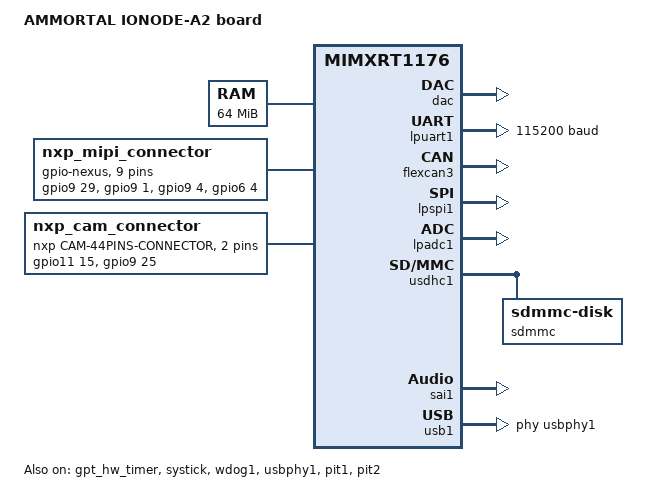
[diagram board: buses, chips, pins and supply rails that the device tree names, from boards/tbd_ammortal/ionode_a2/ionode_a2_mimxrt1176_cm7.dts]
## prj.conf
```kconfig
# Print a banner on the UART on startup.
CONFIG_BOOT_BANNER=y

# Enable console and printk()
CONFIG_PRINTK=y
CONFIG_STDOUT_CONSOLE=y

# Enable Zephyr application to be booted by MCUboot
###CONFIG_BOOTLOADER_MCUBOOT=y

# Use the default MCUBoot PEM key file (BOOT_SIGNATURE_KEY_FILE)
##CONFIG_MCUBOOT_SIGNATURE_KEY_FILE="bootloader/mcuboot/root-rsa-2048.pem"
##CONFIG_MCUBOOT_SIGNATURE_KEY_FILE="bootloader/mcuboot/root-ec-p256.pem"
CONFIG_MCUBOOT_SIGNATURE_KEY_FILE="bootloader/mcuboot/omnitek-ec-p256.pem"
```

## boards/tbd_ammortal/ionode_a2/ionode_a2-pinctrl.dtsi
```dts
/*
 * Copyright (c) 2022, NXP
 * SPDX-License-Identifier: Apache-2.0
 *
 * Note: File generated by gen_board_pinctrl.py
 * from mimxrt1170_evk.mex
 */

#include <nxp/nxp_imx/rt/mimxrt1176dvmaa-pinctrl.dtsi>

&pinctrl {
	/* conflicts with fxos8700 sensor */
	pinmux_csi: pinmux_csi {
		group0 {
			pinmux = <&iomuxc_gpio_disp_b2_14_gpio11_io15>;
			drive-strength = "high";
			bias-pull-down;
			slew-rate = "fast";
		};

		group1 {
			pinmux = <&iomuxc_gpio_ad_26_gpio9_io25>;
			drive-strength = "high";
			bias-pull-up;
			slew-rate = "fast";
		};
	};

	pinmux_lpi2c6: pinmux_lpi2c6 {
		group0 {
			pinmux = <&iomuxc_lpsr_gpio_lpsr_07_lpi2c6_scl>,
				 <&iomuxc_lpsr_gpio_lpsr_06_lpi2c6_sda>;
			drive-strength = "high";
			slew-rate = "fast";
			input-enable;
		};
	};

	pinmux_enet: pinmux_enet {
		group0 {
			pinmux = <&iomuxc_gpio_ad_12_gpio9_io11>,
				 <&iomuxc_gpio_disp_b2_08_enet_rx_en>,
				 <&iomuxc_gpio_disp_b2_09_enet_rx_er>;
			drive-strength = "high";
			bias-pull-down;
			slew-rate = "fast";
		};

		group1 {
			pinmux = <&iomuxc_gpio_disp_b2_06_enet_rdata00>,
				 <&iomuxc_gpio_disp_b2_07_enet_rdata01>;
			drive-strength = "high";
			bias-pull-down;
			slew-rate = "fast";
			input-enable;
		};

		group2 {
			pinmux = <&iomuxc_lpsr_gpio_lpsr_12_gpio12_io12>;
			drive-strength = "high";
			bias-pull-up;
			slew-rate = "fast";
		};

		group3 {
			pinmux = <&iomuxc_gpio_disp_b2_02_enet_tdata00>,
				 <&iomuxc_gpio_disp_b2_03_enet_tdata01>,
				 <&iomuxc_gpio_disp_b2_04_enet_tx_en>;
			drive-strength = "high";
			slew-rate = "fast";
		};

		group4 {
			pinmux = <&iomuxc_gpio_disp_b2_05_enet_ref_clk>;
			drive-strength = "high";
			slew-rate = "slow";
			input-enable;
		};
	};

	pinmux_enet_mdio: pinmux_enet_mdio {
		group0 {
			pinmux = <&iomuxc_gpio_emc_b2_19_enet_mdc>,
				 <&iomuxc_gpio_emc_b2_20_enet_mdio>;
			drive-strength = "high";
			slew-rate = "fast";
		};
	};

	pinmux_ptp: pinmux_ptp {};

	pinmux_enet1g: pinmux_enet1g {
		group0 {
			pinmux = <&iomuxc_gpio_disp_b1_11_enet_1g_tx_clk_io>,	// ENET_RGMII_TXC
				 <&iomuxc_gpio_disp_b1_01_enet_1g_rx_clk>;	// ENET_RGMII_RXC
			bias-disable;
			drive-strength = "high";
			slew-rate = "fast";
			input-enable;
		};

		group1 {
			pinmux = <&iomuxc_gpio_disp_b1_09_enet_1g_tdata00>,	// ENET_RGMII_TXD0
				 <&iomuxc_gpio_disp_b1_08_enet_1g_tdata01>,	// ENET_RGMII_TXD1
				 <&iomuxc_gpio_disp_b1_07_enet_1g_tdata02>,	// ENET_RGMII_TXD2
				 <&iomuxc_gpio_disp_b1_06_enet_1g_tdata03>,	// ENET_RGMII_TXD3
				 <&iomuxc_gpio_disp_b1_10_enet_1g_tx_en>;	// ENET_RGMII_TX_EN
			drive-strength = "high";
			bias-pull-up;
			slew-rate = "fast";
		};

		group2 {
			pinmux = <&iomuxc_gpio_disp_b1_02_enet_1g_rdata00>,	// ENET_RGMII_RXD0
				 <&iomuxc_gpio_disp_b1_03_enet_1g_rdata01>,	// ENET_RGMII_RXD1
				 <&iomuxc_gpio_disp_b1_04_enet_1g_rdata02>,	// ENET_RGMII_RXD2
				 <&iomuxc_gpio_disp_b1_05_enet_1g_rdata03>,	// ENET_RGMII_RXD3
				 <&iomuxc_gpio_disp_b1_00_enet_1g_rx_en>;	// ENET_RGMII_RX_EN
			drive-strength = "high";
			bias-pull-down;
			slew-rate = "fast";
			input-enable;
		};
	};

	pinmux_enet1g_mdio: pinmux_enet1g_mdio {
		group0 {
			pinmux = <&iomuxc_gpio_disp_b2_13_gpio11_io14>;	// ETHPHY_RST_B
			drive-strength = "high";
			bias-pull-down;
			slew-rate = "slow";
		};

		group1 {
			pinmux = <&iomuxc_gpio_disp_b2_12_gpio_mux5_io13>;	// RGMII1_PHY_INTB
			drive-strength = "high";
			bias-pull-down;
			slew-rate = "fast";
			input-enable;
		};

		group2 {
			pinmux = <&iomuxc_gpio_ad_16_enet_1g_mdc>,	// ENET_RGMII_MDC
				 <&iomuxc_gpio_ad_17_enet_1g_mdio>;		// ENET_RGMII_MDIO
			drive-strength = "high";
			bias-pull-down;
			slew-rate = "fast";
		};
	};

	pinmux_enet1g_ptp: pinmux_enet1g_ptp {};

	pinmux_flexcan3: pinmux_flexcan3 {
		group0 {
			pinmux = <&iomuxc_lpsr_gpio_lpsr_01_can3_rx>,
				 <&iomuxc_lpsr_gpio_lpsr_00_can3_tx>;
			drive-strength = "high";
			slew-rate = "fast";
		};
	};

	pinmux_flexpwm1: pinmux_flexpwm1 {
		group0 {
			pinmux = <&iomuxc_gpio_ad_04_flexpwm1_pwm2_a>;
			drive-strength = "high";
			slew-rate = "fast";
		};
	};

	pinmux_flexspi1: pinmux_flexspi1 {
		group0 {
			pinmux = <&iomuxc_gpio_sd_b2_05_flexspi1_a_dqs>,
				 <&iomuxc_gpio_sd_b2_06_flexspi1_a_ss0_b>,
				 <&iomuxc_gpio_sd_b2_07_flexspi1_a_sclk>,
				 <&iomuxc_gpio_sd_b2_08_flexspi1_a_data00>,
				 <&iomuxc_gpio_sd_b2_09_flexspi1_a_data01>,
				 <&iomuxc_gpio_sd_b2_10_flexspi1_a_data02>,
				 <&iomuxc_gpio_sd_b2_11_flexspi1_a_data03>;
			bias-pull-down;
			input-enable;
		};
	};

	/* interrupt gpios for fxos8700 */
	pinmux_fxos8700_int: pinmux_fxos8700_int {
		group0 {
			pinmux = <&iomuxc_gpio_disp_b2_14_gpio11_io15>,
				 <&iomuxc_gpio_disp_b2_13_gpio11_io14>;
			drive-strength = "high";
			slew-rate = "fast";
		};
	};

	/* conflicts with lpspi1 */
	pinmux_lcdif: pinmux_lcdif {
		group0 {
			pinmux = <&iomuxc_gpio_ad_30_gpio9_io29>,
				 <&iomuxc_gpio_ad_02_gpio9_io01>;
			drive-strength = "high";
			bias-pull-down;
			slew-rate = "fast";
		};

		group1 {
			pinmux = <&iomuxc_gpio_disp_b2_15_gpio11_io16>;
			drive-strength = "high";
			bias-pull-up;
			slew-rate = "fast";
		};
	};

	pinmux_lpadc1: pinmux_lpadc1 {
		group0 {
			pinmux = <&iomuxc_gpio_ad_06_adc1_ch0a>;
			drive-strength = "high";
			bias-pull-down;
			slew-rate = "fast";
		};
	};

	pinmux_lpi2c1: pinmux_lpi2c1 {
		group0 {
			pinmux = <&iomuxc_gpio_ad_08_lpi2c1_scl>,
				 <&iomuxc_gpio_ad_09_lpi2c1_sda>;
			drive-strength = "normal";
			drive-open-drain;
			slew-rate = "fast";
			input-enable;
		};
	};

	/* Connected to FXOS8700 */
	pinmux_lpi2c5: pinmux_lpi2c5 {
		group0 {
			pinmux = <&iomuxc_lpsr_gpio_lpsr_05_lpi2c5_scl>,
				 <&iomuxc_lpsr_gpio_lpsr_04_lpi2c5_sda>;
			drive-strength = "normal";
			drive-open-drain;
			slew-rate = "fast";
			input-enable;
		};
	};

	pinmux_lpspi1: pinmux_lpspi1 {
		group0 {
			pinmux = <&iomuxc_gpio_ad_29_lpspi1_pcs0>,
				 <&iomuxc_gpio_ad_28_lpspi1_sck>,
				 <&iomuxc_gpio_ad_31_lpspi1_sdi>,
				 <&iomuxc_gpio_ad_30_lpspi1_sdo>;
			drive-strength = "high";
			slew-rate = "fast";
		};
	};

	pinmux_lpuart1: pinmux_lpuart1 {
		group0 {
			pinmux = <&iomuxc_gpio_ad_25_lpuart1_rx>,
				 <&iomuxc_gpio_ad_24_lpuart1_tx>;
			drive-strength = "high";
			slew-rate = "fast";
		};
	};

	pinmux_lpuart1_sleep: pinmux_lpuart1_sleep {
		group0 {
			pinmux = <&iomuxc_gpio_ad_25_gpio_mux3_io24>;
			drive-strength = "high";
			bias-pull-up;
			slew-rate = "fast";
		};

		group1 {
			pinmux = <&iomuxc_gpio_ad_24_lpuart1_tx>;
			drive-strength = "high";
			slew-rate = "fast";
		};
	};

	pinmux_lpuart2: pinmux_lpuart2 {
		group0 {
			pinmux = <&iomuxc_gpio_disp_b2_11_lpuart2_rx>,
				 <&iomuxc_gpio_disp_b2_10_lpuart2_tx>;
			drive-strength = "high";
			slew-rate = "fast";
		};
	};

	pinmux_lpuart2_sleep: pinmux_lpuart2_sleep {
		group0 {
			pinmux = <&iomuxc_gpio_disp_b2_11_gpio_mux5_io12>;
			drive-strength = "high";
			bias-pull-up;
			slew-rate = "fast";
		};

		group1 {
			pinmux = <&iomuxc_gpio_disp_b2_10_lpuart2_tx>;
			drive-strength = "high";
			slew-rate = "fast";
		};
	};

	pinmux_lpuart2_flowcontrol: pinmux_lpuart2_flowcontrol {
		group0 {
			pinmux = <&iomuxc_gpio_disp_b2_11_lpuart2_rx>,
				 <&iomuxc_gpio_disp_b2_10_lpuart2_tx>,
				 <&iomuxc_gpio_disp_b2_12_lpuart2_cts_b>,
				 <&iomuxc_gpio_disp_b2_13_lpuart2_rts_b>;
			drive-strength = "high";
			slew-rate = "fast";
		};
	};

	pinmux_sai1: pinmux_sai1 {
		group0 {
			pinmux = <&iomuxc_gpio_ad_17_sai1_mclk>,
				 <&iomuxc_gpio_ad_18_sai1_rx_sync>,
				 <&iomuxc_gpio_ad_19_sai1_rx_bclk>,
				 <&iomuxc_gpio_ad_20_sai1_rx_data00>,
				 <&iomuxc_gpio_ad_21_sai1_tx_data00>,
				 <&iomuxc_gpio_ad_22_sai1_tx_bclk>,
				 <&iomuxc_gpio_ad_23_sai1_tx_sync>;
			drive-strength = "high";
			slew-rate = "fast";
			input-enable;
		};
	};

	pinmux_sai4: pinmux_sai4 {
		group0 {
			pinmux = <&iomuxc_lpsr_gpio_lpsr_09_sai4_tx_data>,
				 <&iomuxc_lpsr_gpio_lpsr_10_sai4_tx_sync>,
				 <&iomuxc_lpsr_gpio_lpsr_12_sai4_tx_bclk>;
			drive-strength = "high";
			slew-rate = "fast";
			input-enable;
		};
	};

	/* conflicts with enet pins */
	pinmux_usdhc1: pinmux_usdhc1 {
		group0 {
			pinmux = <&iomuxc_gpio_sd_b1_00_usdhc1_cmd>,
				 <&iomuxc_gpio_sd_b1_01_usdhc1_clk>,
				 <&iomuxc_gpio_sd_b1_02_usdhc1_data0>,
				 <&iomuxc_gpio_sd_b1_03_usdhc1_data1>,
				 <&iomuxc_gpio_sd_b1_04_usdhc1_data2>,
				 <&iomuxc_gpio_sd_b1_05_usdhc1_data3>;
			bias-pull-up;
			input-enable;
		};

		group1 {
			pinmux = <&iomuxc_gpio_ad_34_usdhc1_vselect>,
				 <&iomuxc_gpio_ad_32_gpio_mux3_io31_cm7>;
			drive-strength = "high";
			bias-pull-down;
			slew-rate = "fast";
		};

		group2 {
			pinmux = <&iomuxc_gpio_ad_35_gpio10_io02>;
			drive-strength = "high";
			bias-pull-up;
			slew-rate = "fast";
		};
	};

	/* removes pull on dat3 for card detect */
	pinmux_usdhc1_dat3_nopull: pinmux_usdhc1_dat3_nopull {
		group0 {
			pinmux = <&iomuxc_gpio_sd_b1_05_usdhc1_data3>;
			bias-disable;
			input-enable;
		};

		group1 {
			pinmux = <&iomuxc_gpio_sd_b1_00_usdhc1_cmd>,
				 <&iomuxc_gpio_sd_b1_01_usdhc1_clk>,
				 <&iomuxc_gpio_sd_b1_02_usdhc1_data0>,
				 <&iomuxc_gpio_sd_b1_03_usdhc1_data1>,
				 <&iomuxc_gpio_sd_b1_04_usdhc1_data2>;
			bias-pull-up;
			input-enable;
		};

		group2 {
			pinmux = <&iomuxc_gpio_ad_34_usdhc1_vselect>,
				 <&iomuxc_gpio_ad_32_gpio_mux3_io31_cm7>;
			drive-strength = "high";
			bias-pull-down;
			slew-rate = "fast";
		};

		group3 {
			pinmux = <&iomuxc_gpio_ad_35_gpio10_io02>;
			drive-strength = "high";
			bias-pull-up;
			slew-rate = "fast";
		};
	};
};
```

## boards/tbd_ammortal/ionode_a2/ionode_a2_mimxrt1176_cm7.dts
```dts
/*
 * Copyright 2021-2022,2024 NXP
 *
 * SPDX-License-Identifier: Apache-2.0
 */

/dts-v1/;

#include <nxp/nxp_rt1170_cm7.dtsi>
#include "ionode_a2.dtsi"

/ {
	model = "AMMORTAL IONODE-A2 board";
	compatible = "nxp,mimxrt1176";

	aliases {
		mipi-dsi = &mipi_dsi;
		watchdog0 = &wdog1;
	};

	chosen {
		zephyr,sram = &sdram0;
		zephyr,dtcm = &dtcm;
		zephyr,itcm = &itcm;
		zephyr,console = &lpuart1;
		zephyr,shell-uart = &lpuart1;
		zephyr,canbus = &flexcan3;
		zephyr,flash-controller = &is25wp128;
		zephyr,flash = &is25wp128;
		zephyr,code-partition = &slot0_partition;
		zephyr,uart-mcumgr = &lpuart1;
		zephyr,cpu1-region = &ocram;
		zephyr,ipc = &mailbox_a;
	};

	sdram0: memory@80000000 {
		/* Winbond W9825G6KH-5I */
		device_type = "memory";
		reg = <0x80000000 DT_SIZE_M(64)>;
	};

	/*
	 * This node describes the GPIO pins of the MIPI FPC interface,
	 * J48 on the EVK. This interface is standard to several
	 * NXP EVKs, and is used with several MIPI displays
	 * (available as zephyr shields)
	 */
	nxp_mipi_connector: mipi-connector {
		compatible = "gpio-nexus";
		#gpio-cells = <2>;
		gpio-map-mask = <0xffffffff 0xffffffc0>;
		gpio-map-pass-thru = <0 0x3f>;
		gpio-map = <0 0 &gpio9 29 0>,	/* Pin 1, LEDK */
			   <21 0 &gpio9 1 0>,	/* Pin 21, RESET */
			   <22 0 &gpio9 4 0>,	/* Pin 22, LPTE */
			   <26 0 &gpio6 4 0>,	/* Pin 26, CTP_I2C SDA */
			   <27 0 &gpio6 5 0>,	/* Pin 27, CTP_I2C SCL */
			   <28 0 &gpio9 0 0>,	/* Pin 28, CTP_RST */
			   <29 0 &gpio2 31 0>,	/* Pin 29, CTP_INT */
			   <32 0 &gpio11 16 0>,	/* Pin 32, PWR_EN */
			   <34 0 &gpio9 29 0>;	/* Pin 34, BL_PWM */
	};

	/*
	 * This node describes the GPIO pins mapping of the 44-pin camera
	 * connector, J2 on the EVK. This camera interface is supported
	 * on several NXP RT11xx EVKs, such as RT1170 and RT1160 EVK and
	 * is used with an ov5640 camera module available as a Zephyr shield
	 */
	nxp_cam_connector: cam-connector {
		compatible = "nxp,cam-44pins-connector";
		#gpio-cells = <2>;
		gpio-map-mask = <0xffffffff 0xffffffc0>;
		gpio-map-pass-thru = <0 0x3f>;
		gpio-map = <9 0 &gpio11 15 0>,	/* Pin 9, RESETB */
			   <17 0 &gpio9 25 0>;	/* Pin 17, PWDN */
	};

	zephyr,user {
		dac = <&dac>;
		dac-channel-id = <0>;
		dac-resolution = <12>;
	};
};

&dac {
	status = "okay";
};

zephyr_lcdif: &lcdif {};

zephyr_mipi_dsi: &mipi_dsi {
	dphy-ref-frequency = <DT_FREQ_M(24)>;
};

&lpuart1 {
	status = "okay";
	current-speed = <115200>;
};

&flexcan3 {
	status = "okay";

	can-transceiver {
		max-bitrate = <5000000>;
	};
};

&lpspi1 {
	dmas = <&edma0 0 36>, <&edma0 1 37>;
	dma-names = "rx", "tx";
	status = "okay";
};

nxp_mipi_i2c: &lpi2c5 {
	pinctrl-0 = <&pinmux_lpi2c5>;
	pinctrl-names = "default";
	#address-cells = <1>;
	#size-cells = <0>;
};

&lpadc1 {
	status = "okay";
};

&usdhc1 {
	status = "okay";
	detect-dat3;
	pwr-gpios = <&gpio10 2 GPIO_ACTIVE_LOW>;

	sdmmc {
		compatible = "zephyr,sdmmc-disk";
		disk-name = "SD";
		status = "okay";
	};
};

&edma0 {
	status = "okay";
};

/* GPT and Systick are enabled. If power management is enabled, the GPT
 * timer will be used instead of systick, as allows the core clock to
 * be gated.
 */
&gpt_hw_timer {
	status = "okay";
};

&systick {
	status = "okay";
};

&wdog1 {
	status = "okay";
};

&sai1 {
	status = "okay";
};

zephyr_udc0: &usb1 {
	status = "okay";
	phy-handle = <&usbphy1>;
};

&usbphy1 {
	status = "okay";
	tx-d-cal = <7>;
	tx-cal-45-dp-ohms = <6>;
	tx-cal-45-dm-ohms = <6>;
};

&mailbox_a {
	status = "okay";
};

&pit1 {
	status = "okay";
};

&pit2 {
	status = "okay";
};

nxp_cam_i2c: &lpi2c6 {};

nxp_mipi_csi: &mipi_csi2rx {};

nxp_csi: &csi {};
```

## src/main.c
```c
/*
 * Copyright (c) 2017 Linaro, Ltd.
 *
 * SPDX-License-Identifier: Apache-2.0
 */

#include <zephyr/kernel.h>
#include <zephyr/sys/printk.h>

#include <stdio.h>
#include <zephyr/kernel.h>
#include <zephyr/drivers/gpio.h>

/* 1000 msec = 1 sec */
#define SLEEP_TIME_MS   1000

/* The devicetree node identifier for the "led0" alias. */
#define LED0_NODE DT_ALIAS(led0)
#define LED1_NODE DT_ALIAS(led1)

/*
 * A build error on this line means your board is unsupported.
 * See the sample documentation for information on how to fix this.
 */
static const struct gpio_dt_spec led = GPIO_DT_SPEC_GET(LED0_NODE, gpios);
static const struct gpio_dt_spec led1 = GPIO_DT_SPEC_GET(LED1_NODE, gpios);

int main(void)
{
	int ret;
	bool led_state = true;

	printk("Hello World from %s on %s!\n\r", MCUBOOT_HELLO_WORLD_FROM, CONFIG_BOARD);
    printk("build info: %s %s\n\r", __DATE__, __TIME__);

	if (!gpio_is_ready_dt(&led)) {
		return 0;
	}

	ret = gpio_pin_configure_dt(&led, GPIO_OUTPUT_ACTIVE);
	if (ret < 0) {
		return 0;
	}

	ret = gpio_pin_configure_dt(&led1, GPIO_OUTPUT_ACTIVE);
	if (ret < 0) {
		return 0;
	}
	ret = gpio_pin_set_dt(&led1, 0);    // off

	while (1) {
		ret = gpio_pin_toggle_dt(&led);
		if (ret < 0) {
			return 0;
		}

		led_state = !led_state;
		printf("LED state: %s\n", led_state ? "ON" : "OFF");
		k_msleep(SLEEP_TIME_MS);
	}
	return 0;
}

#if 0   //dcp
int main(void)
{
	printk("Hello World from %s on %s!\n\r",
	       MCUBOOT_HELLO_WORLD_FROM, CONFIG_BOARD);
    printk("build info: %s %s\n\r", __DATE__, __TIME__);
	return 0;
}
#endif  //dcp
```
